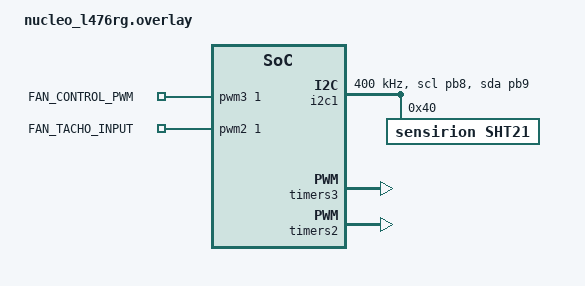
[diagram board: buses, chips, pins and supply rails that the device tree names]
/ {
	fan_components {
		compatible = "pwm-leds";

		fan_pwm: fan_pwm {
			/* Timer 3, Channel 1, 40us period (25kHz) */
			pwms = <&pwm3 1 40000 PWM_POLARITY_NORMAL>;
			label = "FAN_CONTROL_PWM";
		};

		tacho_input: tacho_input {
			/* Timer 2, Channel 3, Period 0 */
			pwms = <&pwm2 1 0 PWM_POLARITY_NORMAL>;
			label = "FAN_TACHO_INPUT";
		};
	};
};

/* Disable unused peripherals to save power/avoid pin conflicts */
&usart1 {status = "disabled"; };
&usart2 {status = "disabled"; };
&i2c3 {status = "disabled"; };
&spi1 {status = "disabled"; };
&spi2 {status = "disabled"; };
&spi3 {status = "disabled"; };

/* I2C1 for SHT21 Temperature Sensor */
&i2c1 {
	pinctrl-0 = <&i2c1_scl_pb8 &i2c1_sda_pb9>;
	pinctrl-names = "default";
	status = "okay";
	clock-frequency = <I2C_BITRATE_FAST>;

	sht21: sht21@40 {
		compatible = "sensirion,sht21";
		reg = <0x40>;
	};
};

/* Timer 3: Configured for PWM Output (Fan Speed Control) */
&timers3 {
	st,prescaler = <0>;
	status = "okay";

	pwm3: pwm {
		status = "okay";
		pinctrl-0 = <&tim3_ch1_pb4>;
		pinctrl-names = "default";
		#pwm-cells = <3>;
	};
};

/* Timer 2: Configured for Input Capture (Fan Tachometer) */
&timers2 {
	/* 80MHz / 80 = 1MHz (1 tick = 1 microsecond) */
	st,prescaler = <80>;
	status = "okay";

	pwm2: pwm {
		status = "okay";
		pinctrl-0 = <&tim2_ch1_pa0>;
		pinctrl-names = "default";
		#pwm-cells = <3>;
	};
};

&pinctrl {
	tim3_ch1_pb4: tim3_ch1_pb4 {
		pinmux = <STM32_PINMUX('B', 4, AF2)>;
		bias-pull-up;
	};

	tim2_ch1_pa0: tim2_ch1_pa0 {
		pinmux = <STM32_PINMUX('A', 0, AF1)>;
		bias-pull-up;
	};
};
